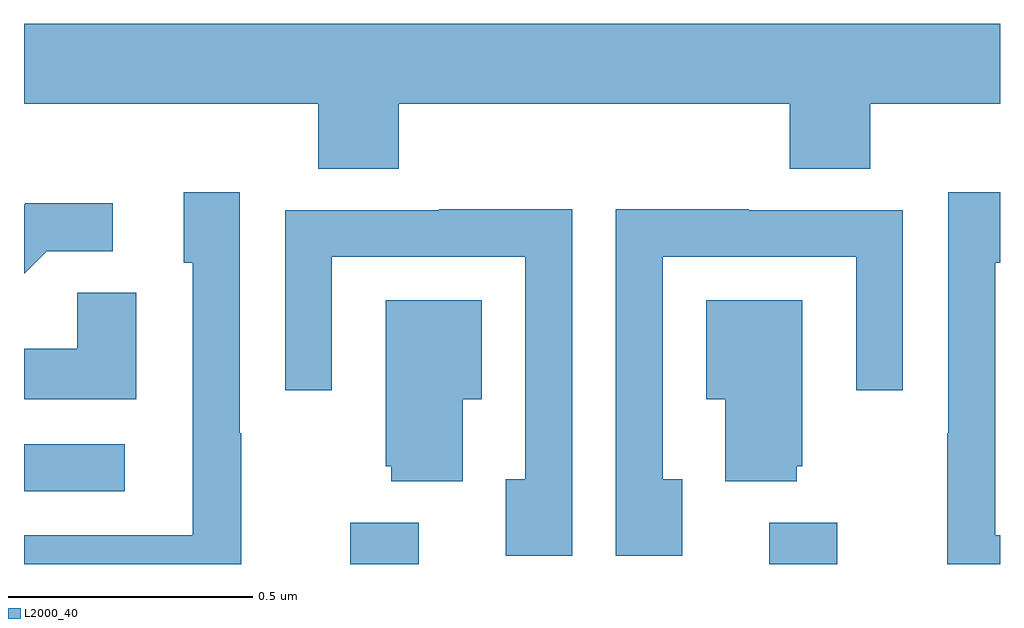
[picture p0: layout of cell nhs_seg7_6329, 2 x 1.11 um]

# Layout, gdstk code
import gdstk
lib = gdstk.Library(unit=1e-6, precision=1e-09)
def R(c, l, rs):  # rectangles x0, y0, x1, y1
    for r in rs: c.add(gdstk.rectangle(r[:2], r[2:], *l))
def P(c, l, *ps):  # polygons
    for p in ps: c.add(gdstk.Polygon(p, *l))
L2000_40 = (2000, 40)

nhs_seg7_6329 = lib.new_cell('nhs_seg7_6329')
R(nhs_seg7_6329, L2000_40, [(197.669,1005,197.809,1005.085), (198.527,1005,198.667,1005.085), (197,1005.15,197.206,1005.246)])
P(nhs_seg7_6329, L2000_40, [(197.768,1005.944),(198.569,1005.944),(198.569,1005.811),(198.734,1005.811),(198.734,1005.944),(199,1005.944),(199,1006.108),(197,1006.108),(197,1005.944),(197.603,1005.944),(197.603,1005.811),(197.768,1005.811)],
  [(197.445,1005.269),(197.442,1005.269),(197.442,1005.763),(197.327,1005.763),(197.327,1005.618),(197.346,1005.618),(197.346,1005.06),(197,1005.06),(197,1005),(197.445,1005)],
  [(199,1005.06),(198.99,1005.06),(198.99,1005.618),(199,1005.618),(199,1005.763),(198.894,1005.763),(198.894,1005.269),(198.892,1005.269),(198.892,1005),(199,1005)],
  [(197.047,1005.642),(197.182,1005.642),(197.182,1005.74),(197.003,1005.74),(197,1005.737),(197,1005.595)],
  [(198.123,1005.728),(197.851,1005.728),(197.851,1005.726),(197.535,1005.726),(197.535,1005.357),(197.631,1005.357),(197.631,1005.63),(198.027,1005.63),(198.027,1005.174),(197.987,1005.174),(197.987,1005.018),(198.123,1005.018)],
  [(198.349,1005.174),(198.309,1005.174),(198.309,1005.63),(198.705,1005.63),(198.705,1005.357),(198.801,1005.357),(198.801,1005.726),(198.485,1005.726),(198.485,1005.728),(198.213,1005.728),(198.213,1005.018),(198.349,1005.018)],
  [(197.23,1005.557),(197.109,1005.557),(197.109,1005.442),(197,1005.442),(197,1005.338),(197.23,1005.338)],
  [(197.899,1005.338),(197.938,1005.338),(197.938,1005.541),(197.741,1005.541),(197.741,1005.201),(197.753,1005.201),(197.753,1005.17),(197.899,1005.17)],
  [(198.584,1005.201),(198.595,1005.201),(198.595,1005.541),(198.398,1005.541),(198.398,1005.338),(198.437,1005.338),(198.437,1005.17),(198.584,1005.17)])

lib.write_gds('nhs_seg7_6329.gds')
